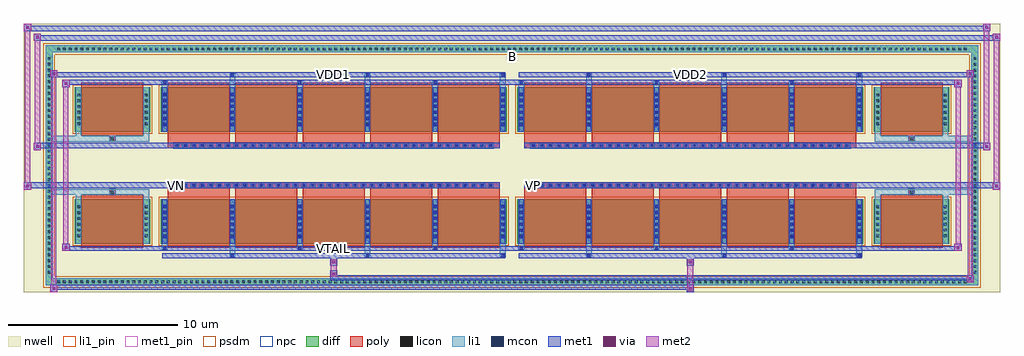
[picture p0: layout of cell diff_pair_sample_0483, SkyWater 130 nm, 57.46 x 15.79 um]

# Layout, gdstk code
import gdstk
lib = gdstk.Library(unit=1e-6, precision=5e-09)
def R(c, l, rs):  # rectangles x0, y0, x1, y1
    for r in rs: c.add(gdstk.rectangle(r[:2], r[2:], *l))
def A(c, l, x, y, w, h, nx, ny, dx, dy):  # array of equal rectangles
    R(c, l, [(x+i*dx, y+j*dy, x+i*dx+w, y+j*dy+h) for i in range(nx) for j in range(ny)])
def P(c, l, *ps):  # polygons
    for p in ps: c.add(gdstk.Polygon(p, *l))
nwell = (64, 20)
diff = (65, 20)
poly = (66, 20)
licon = (66, 44)
li1_pin = (67, 16)
li1 = (67, 20)
mcon = (67, 44)
met1_pin = (68, 16)
met1 = (68, 20)
via = (68, 44)
met2 = (69, 20)
psdm = (94, 20)
npc = (95, 20)

diff_pair_sample_0483 = lib.new_cell('diff_pair_sample_0483')
R(diff_pair_sample_0483, nwell, [(-28.73,-7.46,28.73,8.33), (-26.05,-5.65,-0.01,-0.805), (0.01,-5.65,26.05,-0.805), (-26.05,0.805,-0.01,5.65), (0.01,0.805,26.05,5.65)])
A(diff_pair_sample_0483, diff, -26.895, -7.06, 0.41, 0.41, 158, 2, 0.34, 13.71)
A(diff_pair_sample_0483, diff, -27.46, -6.495, 0.41, 0.41, 1, 38, 0, 0.34)
A(diff_pair_sample_0483, diff, 27.05, -6.495, 0.41, 0.41, 1, 38, 0, 0.34)
R(diff_pair_sample_0483, diff, [(-26.895,-7.06,26.895,-6.65), (-27.46,-6.495,-27.05,6.495), (27.05,-6.495,27.46,6.495), (-25.74,-4.605,-21.31,-1.985), (-20.67,-4.605,-0.32,-1.985), (0.32,-4.605,20.67,-1.985), (21.31,-4.605,25.74,-1.985), (-25.74,1.985,-21.31,4.605), (-20.67,1.985,-0.32,4.605), (0.32,1.985,20.67,4.605), (21.31,1.985,25.74,4.605), (-26.895,6.65,26.895,7.06)])
P(diff_pair_sample_0483, diff, [(27.46,7.06),(-27.46,7.06),(-27.46,-6.65),(-27.05,-6.65),(-27.05,6.65),(27.05,6.65),(27.05,-6.65),(-27.05,-6.65),(-27.46,-6.65),(-27.46,-7.06),(27.46,-7.06)])
A(diff_pair_sample_0483, poly, -20.28, -4.855, 3.65, 3.12, 5, 2, 3.98, 6.59)
A(diff_pair_sample_0483, poly, 0.71, -4.855, 3.65, 3.12, 5, 2, 3.98, 6.59)
A(diff_pair_sample_0483, poly, -20.28, -1.735, 3.65, 0.4, 5, 2, 3.98, 3.07)
A(diff_pair_sample_0483, poly, 0.71, -1.735, 3.65, 0.4, 5, 2, 3.98, 3.07)
A(diff_pair_sample_0483, poly, -19.91, -1.335, 0.33, 0.33, 38, 2, 0.5, 2.34)
A(diff_pair_sample_0483, poly, 1.08, -1.335, 0.33, 0.33, 38, 2, 0.5, 2.34)
R(diff_pair_sample_0483, poly, [(-25.35,-4.855,-21.7,-1.735), (21.7,-4.855,25.35,-1.735), (-23.69,-1.735,-23.36,-1.405), (-23.69,-1.735,-23.36,-1.405), (23.36,-1.735,23.69,-1.405), (23.36,-1.735,23.69,-1.405), (-20.28,-1.335,-0.71,-1.005), (0.71,-1.335,20.28,-1.005), (-20.28,1.005,-0.71,1.335), (0.71,1.005,20.28,1.335), (-23.69,1.405,-23.36,1.735), (-23.69,1.405,-23.36,1.735), (23.36,1.405,23.69,1.735), (23.36,1.405,23.69,1.735), (-25.35,1.735,-21.7,4.855), (21.7,1.735,25.35,4.855)])
A(diff_pair_sample_0483, licon, -26.775, -6.94, 0.17, 0.17, 158, 2, 0.34, 13.71)
A(diff_pair_sample_0483, licon, -27.34, -6.375, 0.17, 0.17, 1, 38, 0, 0.34)
A(diff_pair_sample_0483, licon, 27.17, -6.375, 0.17, 0.17, 1, 38, 0, 0.34)
A(diff_pair_sample_0483, licon, -25.6, -4.23, 0.17, 0.17, 1, 6, 0, 0.34)
A(diff_pair_sample_0483, licon, -21.62, -4.23, 0.17, 0.17, 1, 6, 0, 0.34)
A(diff_pair_sample_0483, licon, -20.53, -4.23, 0.17, 0.17, 6, 6, 3.98, 0.34)
A(diff_pair_sample_0483, licon, 0.46, -4.23, 0.17, 0.17, 6, 6, 3.98, 0.34)
A(diff_pair_sample_0483, licon, 21.45, -4.23, 0.17, 0.17, 1, 6, 0, 0.34)
A(diff_pair_sample_0483, licon, 25.43, -4.23, 0.17, 0.17, 1, 6, 0, 0.34)
A(diff_pair_sample_0483, licon, -19.83, -1.255, 0.17, 0.17, 38, 2, 0.5, 2.34)
A(diff_pair_sample_0483, licon, 1.16, -1.255, 0.17, 0.17, 38, 2, 0.5, 2.34)
A(diff_pair_sample_0483, licon, -25.6, 2.36, 0.17, 0.17, 1, 6, 0, 0.34)
A(diff_pair_sample_0483, licon, -21.62, 2.36, 0.17, 0.17, 1, 6, 0, 0.34)
A(diff_pair_sample_0483, licon, -20.53, 2.36, 0.17, 0.17, 6, 6, 3.98, 0.34)
A(diff_pair_sample_0483, licon, 0.46, 2.36, 0.17, 0.17, 6, 6, 3.98, 0.34)
A(diff_pair_sample_0483, licon, 21.45, 2.36, 0.17, 0.17, 1, 6, 0, 0.34)
A(diff_pair_sample_0483, licon, 25.43, 2.36, 0.17, 0.17, 1, 6, 0, 0.34)
R(diff_pair_sample_0483, licon, [(-23.61,-1.655,-23.44,-1.485), (23.44,-1.655,23.61,-1.485), (-23.61,1.485,-23.44,1.655), (23.44,1.485,23.61,1.655)])
R(diff_pair_sample_0483, li1_pin, [(-0.25,6.15,0.25,6.65)])
A(diff_pair_sample_0483, li1, -26.855, -7.02, 0.33, 0.33, 158, 2, 0.34, 13.71)
A(diff_pair_sample_0483, li1, -27.42, -6.455, 0.33, 0.33, 1, 38, 0, 0.34)
A(diff_pair_sample_0483, li1, 27.09, -6.455, 0.33, 0.33, 1, 38, 0, 0.34)
A(diff_pair_sample_0483, li1, -16.63, -5.41, 0.33, 0.805, 3, 2, 7.96, 10.015)
A(diff_pair_sample_0483, li1, -16.55, -5.41, 0.17, 0.17, 3, 2, 7.96, 10.65)
A(diff_pair_sample_0483, li1, 4.36, -5.41, 0.33, 0.805, 3, 2, 7.96, 10.015)
A(diff_pair_sample_0483, li1, 4.44, -5.41, 0.17, 0.17, 3, 2, 7.96, 10.65)
A(diff_pair_sample_0483, li1, -20.61, -4.98, 0.33, 0.375, 3, 2, 7.96, 9.585)
A(diff_pair_sample_0483, li1, -20.53, -4.98, 0.17, 0.17, 3, 2, 7.96, 9.79)
A(diff_pair_sample_0483, li1, 0.38, -4.98, 0.33, 0.375, 3, 2, 7.96, 9.585)
A(diff_pair_sample_0483, li1, 0.46, -4.98, 0.17, 0.17, 3, 2, 7.96, 9.79)
A(diff_pair_sample_0483, li1, -20.61, -4.605, 0.33, 2.62, 6, 2, 3.98, 6.59)
A(diff_pair_sample_0483, li1, 0.38, -4.605, 0.33, 2.62, 6, 2, 3.98, 6.59)
A(diff_pair_sample_0483, li1, -25.68, -4.31, 0.33, 0.33, 1, 6, 0, 0.34)
A(diff_pair_sample_0483, li1, -21.7, -4.31, 0.33, 0.33, 1, 6, 0, 0.34)
A(diff_pair_sample_0483, li1, -20.61, -4.31, 0.33, 0.33, 6, 6, 3.98, 0.34)
A(diff_pair_sample_0483, li1, 0.38, -4.31, 0.33, 0.33, 6, 6, 3.98, 0.34)
A(diff_pair_sample_0483, li1, 21.37, -4.31, 0.33, 0.33, 1, 6, 0, 0.34)
A(diff_pair_sample_0483, li1, 25.35, -4.31, 0.33, 0.33, 1, 6, 0, 0.34)
A(diff_pair_sample_0483, li1, -20.53, -4.28, 0.17, 0.17, 6, 6, 3.98, 0.36)
A(diff_pair_sample_0483, li1, -20.53, -4.28, 0.17, 1.97, 6, 2, 3.98, 6.59)
A(diff_pair_sample_0483, li1, 0.46, -4.28, 0.17, 0.17, 6, 6, 3.98, 0.36)
A(diff_pair_sample_0483, li1, 0.46, -4.28, 0.17, 1.97, 6, 2, 3.98, 6.59)
A(diff_pair_sample_0483, li1, -19.91, -1.335, 0.33, 0.33, 38, 2, 0.5, 2.34)
A(diff_pair_sample_0483, li1, 1.08, -1.335, 0.33, 0.33, 38, 2, 0.5, 2.34)
A(diff_pair_sample_0483, li1, -25.68, 2.28, 0.33, 0.33, 1, 6, 0, 0.34)
A(diff_pair_sample_0483, li1, -21.7, 2.28, 0.33, 0.33, 1, 6, 0, 0.34)
A(diff_pair_sample_0483, li1, -20.61, 2.28, 0.33, 0.33, 6, 6, 3.98, 0.34)
A(diff_pair_sample_0483, li1, 0.38, 2.28, 0.33, 0.33, 6, 6, 3.98, 0.34)
A(diff_pair_sample_0483, li1, 21.37, 2.28, 0.33, 0.33, 1, 6, 0, 0.34)
A(diff_pair_sample_0483, li1, 25.35, 2.28, 0.33, 0.33, 1, 6, 0, 0.34)
A(diff_pair_sample_0483, li1, -20.53, 2.31, 0.17, 0.17, 6, 6, 3.98, 0.36)
A(diff_pair_sample_0483, li1, 0.46, 2.31, 0.17, 0.17, 6, 6, 3.98, 0.36)
R(diff_pair_sample_0483, li1, [(-27.46,-7.06,-27.05,-6.65), (-27.46,-7.06,-27.05,-6.65), (-27.05,-7.06,27.05,-6.65), (27.05,-7.06,27.46,-6.65), (27.05,-7.06,27.46,-6.65), (-27.46,-6.65,-27.05,6.65), (27.05,-6.65,27.46,6.65), (-25.68,-4.605,-25.35,-1.985), (-21.7,-4.605,-21.37,-1.985), (21.37,-4.605,21.7,-1.985), (25.35,-4.605,25.68,-1.985), (-25.68,-1.985,-25.35,-1.405), (-21.7,-1.985,-21.37,-1.405), (21.37,-1.985,21.7,-1.405), (25.35,-1.985,25.68,-1.405), (-27.46,-1.735,-23.69,-1.405), (-25.68,-1.735,-23.69,-1.405), (-23.69,-1.735,-23.36,-1.405), (-23.36,-1.735,-21.37,-1.405), (21.37,-1.735,23.36,-1.405), (23.36,-1.735,23.69,-1.405), (23.36,-1.735,27.46,-1.405), (23.69,-1.735,25.68,-1.405), (-27.46,1.405,-23.69,1.735), (-25.68,1.405,-23.69,1.735), (-25.68,1.405,-25.35,1.985), (-23.69,1.405,-23.36,1.735), (-23.36,1.405,-21.37,1.735), (-21.7,1.405,-21.37,1.985), (21.37,1.405,23.36,1.735), (21.37,1.405,21.7,1.985), (23.36,1.405,23.69,1.735), (23.36,1.405,27.46,1.735), (23.69,1.405,25.68,1.735), (25.35,1.405,25.68,1.985), (-25.68,1.985,-25.35,4.605), (-21.7,1.985,-21.37,4.605), (21.37,1.985,21.7,4.605), (25.35,1.985,25.68,4.605), (-27.46,6.65,-27.05,7.06), (-27.46,6.65,-27.05,7.06), (-27.05,6.65,27.05,7.06), (27.05,6.65,27.46,7.06), (27.05,6.65,27.46,7.06)])
A(diff_pair_sample_0483, mcon, -16.55, -5.41, 0.17, 0.17, 3, 2, 7.96, 10.65)
A(diff_pair_sample_0483, mcon, 4.44, -5.41, 0.17, 0.17, 3, 2, 7.96, 10.65)
A(diff_pair_sample_0483, mcon, -20.53, -4.98, 0.17, 0.17, 3, 2, 7.96, 9.79)
A(diff_pair_sample_0483, mcon, 0.46, -4.98, 0.17, 0.17, 3, 2, 7.96, 9.79)
A(diff_pair_sample_0483, mcon, -20.53, -4.28, 0.17, 0.17, 6, 6, 3.98, 0.36)
A(diff_pair_sample_0483, mcon, 0.46, -4.28, 0.17, 0.17, 6, 6, 3.98, 0.36)
A(diff_pair_sample_0483, mcon, -19.83, -1.255, 0.17, 0.17, 38, 2, 0.5, 2.34)
A(diff_pair_sample_0483, mcon, 1.16, -1.255, 0.17, 0.17, 38, 2, 0.5, 2.34)
A(diff_pair_sample_0483, mcon, -20.53, 2.31, 0.17, 0.17, 6, 6, 3.98, 0.36)
A(diff_pair_sample_0483, mcon, 0.46, 2.31, 0.17, 0.17, 6, 6, 3.98, 0.36)
R(diff_pair_sample_0483, met1_pin, [(-10.63,-5.02,-10.36,-4.75), (-19.88,-1.295,-19.61,-1.025), (1.11,-1.295,1.38,-1.025), (-10.63,5.2,-10.36,5.47), (10.36,5.2,10.63,5.47)])
A(diff_pair_sample_0483, met1, -16.61, -5.47, 0.29, 0.29, 3, 2, 7.96, 10.65)
A(diff_pair_sample_0483, met1, 4.38, -5.47, 0.29, 0.29, 3, 2, 7.96, 10.65)
A(diff_pair_sample_0483, met1, -20.59, -5.04, 0.29, 0.29, 3, 2, 7.96, 9.79)
A(diff_pair_sample_0483, met1, 0.4, -5.04, 0.29, 0.29, 3, 2, 7.96, 9.79)
A(diff_pair_sample_0483, met1, -20.59, -4.605, 0.29, 2.62, 6, 2, 3.98, 6.59)
A(diff_pair_sample_0483, met1, 0.4, -4.605, 0.29, 2.62, 6, 2, 3.98, 6.59)
A(diff_pair_sample_0483, met1, -20.59, -4.34, 0.29, 0.29, 6, 6, 3.98, 0.36)
A(diff_pair_sample_0483, met1, 0.4, -4.34, 0.29, 0.29, 6, 6, 3.98, 0.36)
A(diff_pair_sample_0483, met1, -19.89, -1.315, 0.29, 0.29, 38, 2, 0.5, 2.34)
A(diff_pair_sample_0483, met1, 1.1, -1.315, 0.29, 0.29, 38, 2, 0.5, 2.34)
A(diff_pair_sample_0483, met1, -20.59, 2.25, 0.29, 0.29, 6, 6, 3.98, 0.36)
A(diff_pair_sample_0483, met1, 0.4, 2.25, 0.29, 0.29, 6, 6, 3.98, 0.36)
R(diff_pair_sample_0483, met1, [(-27.19,-7.46,-26.76,-7.03), (10.28,-7.46,10.71,-7.03), (-27.19,-7.32,10.71,-7.03), (26.76,-6.89,27.19,-6.46), (-10.71,-6.75,27.19,-6.46), (-10.71,-6.61,-10.28,-6.18), (-10.71,-5.9,-10.28,-5.47), (10.28,-5.9,10.71,-5.47), (-20.59,-5.47,-0.4,-5.18), (0.4,-5.47,20.59,-5.18), (-26.48,-5.04,-26.05,-4.61), (-26.48,-5.04,-20.59,-4.75), (-20.59,-5.04,-0.4,-4.75), (-0.4,-5.04,0.4,-4.75), (0.4,-5.04,20.59,-4.75), (20.59,-5.04,26.48,-4.75), (26.05,-5.04,26.48,-4.61), (-28.73,-1.435,-28.3,-1.005), (28.3,-1.435,28.73,-1.005), (-28.73,-1.335,-0.71,-1.005), (-20.28,-1.335,-0.71,-1.005), (0.71,-1.335,20.28,-1.005), (0.71,-1.335,28.73,-1.005), (-28.16,0.905,-27.73,1.335), (27.73,0.905,28.16,1.335), (-28.16,1.005,-20.28,1.335), (-20.28,1.005,-0.71,1.335), (0.71,1.005,20.28,1.335), (20.28,1.005,28.16,1.335), (-26.48,4.61,-26.05,5.04), (26.05,4.61,26.48,5.04), (-26.48,4.75,-20.59,5.04), (-20.59,4.75,-0.4,5.04), (-0.4,4.75,0.4,5.04), (0.4,4.75,20.59,5.04), (20.59,4.75,26.48,5.04), (-27.19,5.18,-26.76,5.61), (-27.19,5.18,-20.59,5.47), (-20.59,5.18,-0.4,5.47), (0.4,5.18,20.59,5.47), (20.59,5.18,27.19,5.47), (26.76,5.18,27.19,5.61), (-28.16,7.33,-27.73,7.76), (-28.16,7.33,-26.05,7.66), (-26.05,7.33,26.05,7.66), (26.05,7.33,28.73,7.66), (28.3,7.33,28.73,7.76), (-28.73,7.9,-28.3,8.33), (-28.73,7.9,-26.05,8.23), (-26.05,7.9,26.05,8.23), (26.05,7.9,28.16,8.23), (27.73,7.9,28.16,8.33)])
R(diff_pair_sample_0483, via, [(-27.05,-7.32,-26.9,-7.17), (10.42,-7.32,10.57,-7.17), (26.9,-6.75,27.05,-6.6), (-10.57,-6.47,-10.42,-6.32), (-10.57,-5.76,-10.42,-5.61), (10.42,-5.76,10.57,-5.61), (-26.34,-4.9,-26.19,-4.75), (26.19,-4.9,26.34,-4.75), (-28.59,-1.295,-28.44,-1.145), (28.44,-1.295,28.59,-1.145), (-28.02,1.045,-27.87,1.195), (27.87,1.045,28.02,1.195), (-26.34,4.75,-26.19,4.9), (26.19,4.75,26.34,4.9), (-27.05,5.32,-26.9,5.47), (26.9,5.32,27.05,5.47), (-28.02,7.47,-27.87,7.62), (28.44,7.47,28.59,7.62), (-28.59,8.04,-28.44,8.19), (27.87,8.04,28.02,8.19)])
R(diff_pair_sample_0483, met2, [(-27.19,-7.46,-26.76,-7.03), (-27.12,-7.46,-26.83,5.61), (-26.83,-7.46,-26.76,-7.03), (-27.14,-7.41,-26.81,-7.08), (10.33,-7.41,10.66,-7.08), (10.33,-7.08,10.66,-5.85), (26.76,-6.89,27.19,-6.46), (26.83,-6.89,27.12,5.61), (27.12,-6.89,27.19,-6.46), (26.81,-6.84,27.14,-6.51), (-10.66,-6.56,-10.33,-6.23), (-10.66,-6.23,-10.33,-5.85), (-10.66,-5.85,-10.33,-5.52), (10.33,-5.85,10.66,-5.52), (-26.48,-5.04,-26.05,-4.61), (-26.41,-5.04,-26.12,5.04), (-26.12,-5.04,-26.05,-4.61), (26.05,-5.04,26.48,-4.61), (26.12,-5.04,26.41,5.04), (26.41,-5.04,26.48,-4.61), (-26.43,-4.99,-26.1,-4.66), (26.1,-4.99,26.43,-4.66), (-28.73,-1.435,-28.3,-1.005), (-28.68,-1.435,-28.35,8.33), (-28.35,-1.435,-28.3,-1.005), (28.3,-1.435,28.73,-1.005), (28.35,-1.435,28.68,7.76), (28.68,-1.435,28.73,-1.005), (-28.68,-1.385,-28.35,-1.055), (28.35,-1.385,28.68,-1.055), (-28.16,0.905,-27.73,1.335), (-28.11,0.905,-27.78,7.76), (-27.78,0.905,-27.73,1.335), (27.73,0.905,28.16,1.335), (27.78,0.905,28.11,8.33), (28.11,0.905,28.16,1.335), (-28.11,0.955,-27.78,1.285), (27.78,0.955,28.11,1.285), (-26.48,4.61,-26.05,5.04), (-26.12,4.61,-26.05,5.04), (26.05,4.61,26.48,5.04), (26.41,4.61,26.48,5.04), (-26.43,4.66,-26.1,4.99), (26.1,4.66,26.43,4.99), (-27.19,5.18,-26.76,5.61), (-26.83,5.18,-26.76,5.61), (26.76,5.18,27.19,5.61), (27.12,5.18,27.19,5.61), (-27.14,5.23,-26.81,5.56), (26.81,5.23,27.14,5.56), (-28.16,7.33,-27.73,7.76), (-27.78,7.33,-27.73,7.76), (28.3,7.33,28.73,7.76), (28.68,7.33,28.73,7.76), (-28.11,7.38,-27.78,7.71), (28.35,7.38,28.68,7.71), (-28.73,7.9,-28.3,8.33), (-28.35,7.9,-28.3,8.33), (27.73,7.9,28.16,8.33), (28.11,7.9,28.16,8.33), (-28.68,7.95,-28.35,8.28), (27.78,7.95,28.11,8.28)])
R(diff_pair_sample_0483, psdm, [(-25.87,-4.735,-21.18,-1.855), (-20.8,-4.735,-0.19,-1.855), (0.19,-4.735,20.8,-1.855), (21.18,-4.735,25.87,-1.855), (-25.87,1.855,-21.18,4.735), (-20.8,1.855,-0.19,4.735), (0.19,1.855,20.8,4.735), (21.18,1.855,25.87,4.735)])
P(diff_pair_sample_0483, psdm, [(27.59,7.19),(-27.59,7.19),(-27.59,-6.52),(-26.92,-6.52),(-26.92,6.52),(26.92,6.52),(26.92,-6.52),(-26.92,-6.52),(-27.59,-6.52),(-27.59,-7.19),(27.59,-7.19)])
A(diff_pair_sample_0483, npc, -19.93, -1.355, 0.37, 0.37, 38, 2, 0.5, 2.34)
A(diff_pair_sample_0483, npc, 1.06, -1.355, 0.37, 0.37, 38, 2, 0.5, 2.34)
R(diff_pair_sample_0483, npc, [(-23.71,-1.755,-23.34,-1.385), (23.34,-1.755,23.71,-1.385), (-19.93,-1.355,-19.06,-0.985), (-19.93,-1.355,-19.06,-0.985), (-19.43,-1.355,-18.56,-0.985), (-19.43,-1.355,-18.56,-0.985), (-18.93,-1.355,-18.06,-0.985), (-18.93,-1.355,-18.06,-0.985), (-18.43,-1.355,-17.56,-0.985), (-18.43,-1.355,-17.56,-0.985), (-17.93,-1.355,-17.06,-0.985), (-17.93,-1.355,-17.06,-0.985), (-17.43,-1.355,-16.56,-0.985), (-17.43,-1.355,-16.56,-0.985), (-16.93,-1.355,-16.06,-0.985), (-16.93,-1.355,-16.06,-0.985), (-16.43,-1.355,-15.56,-0.985), (-16.43,-1.355,-15.56,-0.985), (-15.93,-1.355,-15.06,-0.985), (-15.93,-1.355,-15.06,-0.985), (-15.43,-1.355,-14.56,-0.985), (-15.43,-1.355,-14.56,-0.985), (-14.93,-1.355,-14.06,-0.985), (-14.93,-1.355,-14.06,-0.985), (-14.43,-1.355,-13.56,-0.985), (-14.43,-1.355,-13.56,-0.985), (-13.93,-1.355,-13.06,-0.985), (-13.93,-1.355,-13.06,-0.985), (-13.43,-1.355,-12.56,-0.985), (-13.43,-1.355,-12.56,-0.985), (-12.93,-1.355,-12.06,-0.985), (-12.93,-1.355,-12.06,-0.985), (-12.43,-1.355,-11.56,-0.985), (-12.43,-1.355,-11.56,-0.985), (-11.93,-1.355,-11.06,-0.985), (-11.93,-1.355,-11.06,-0.985), (-11.43,-1.355,-10.56,-0.985), (-11.43,-1.355,-10.56,-0.985), (-10.93,-1.355,-10.06,-0.985), (-10.93,-1.355,-10.06,-0.985), (-10.43,-1.355,-9.56,-0.985), (-10.43,-1.355,-9.56,-0.985), (-9.93,-1.355,-9.06,-0.985), (-9.93,-1.355,-9.06,-0.985), (-9.43,-1.355,-8.56,-0.985), (-9.43,-1.355,-8.56,-0.985), (-8.93,-1.355,-8.06,-0.985), (-8.93,-1.355,-8.06,-0.985), (-8.43,-1.355,-7.56,-0.985), (-8.43,-1.355,-7.56,-0.985), (-7.93,-1.355,-7.06,-0.985), (-7.93,-1.355,-7.06,-0.985), (-7.43,-1.355,-6.56,-0.985), (-7.43,-1.355,-6.56,-0.985), (-6.93,-1.355,-6.06,-0.985), (-6.93,-1.355,-6.06,-0.985), (-6.43,-1.355,-5.56,-0.985), (-6.43,-1.355,-5.56,-0.985), (-5.93,-1.355,-5.06,-0.985), (-5.93,-1.355,-5.06,-0.985), (-5.43,-1.355,-4.56,-0.985), (-5.43,-1.355,-4.56,-0.985), (-4.93,-1.355,-4.06,-0.985), (-4.93,-1.355,-4.06,-0.985), (-4.43,-1.355,-3.56,-0.985), (-4.43,-1.355,-3.56,-0.985), (-3.93,-1.355,-3.06,-0.985), (-3.93,-1.355,-3.06,-0.985), (-3.43,-1.355,-2.56,-0.985), (-3.43,-1.355,-2.56,-0.985), (-2.93,-1.355,-2.06,-0.985), (-2.93,-1.355,-2.06,-0.985), (-2.43,-1.355,-1.56,-0.985), (-2.43,-1.355,-1.56,-0.985), (-1.93,-1.355,-1.06,-0.985), (-1.93,-1.355,-1.06,-0.985), (1.06,-1.355,1.93,-0.985), (1.06,-1.355,1.93,-0.985), (1.56,-1.355,2.43,-0.985), (1.56,-1.355,2.43,-0.985), (2.06,-1.355,2.93,-0.985), (2.06,-1.355,2.93,-0.985), (2.56,-1.355,3.43,-0.985), (2.56,-1.355,3.43,-0.985), (3.06,-1.355,3.93,-0.985), (3.06,-1.355,3.93,-0.985), (3.56,-1.355,4.43,-0.985), (3.56,-1.355,4.43,-0.985), (4.06,-1.355,4.93,-0.985), (4.06,-1.355,4.93,-0.985), (4.56,-1.355,5.43,-0.985), (4.56,-1.355,5.43,-0.985), (5.06,-1.355,5.93,-0.985), (5.06,-1.355,5.93,-0.985), (5.56,-1.355,6.43,-0.985), (5.56,-1.355,6.43,-0.985), (6.06,-1.355,6.93,-0.985), (6.06,-1.355,6.93,-0.985), (6.56,-1.355,7.43,-0.985), (6.56,-1.355,7.43,-0.985), (7.06,-1.355,7.93,-0.985), (7.06,-1.355,7.93,-0.985), (7.56,-1.355,8.43,-0.985), (7.56,-1.355,8.43,-0.985), (8.06,-1.355,8.93,-0.985), (8.06,-1.355,8.93,-0.985), (8.56,-1.355,9.43,-0.985), (8.56,-1.355,9.43,-0.985), (9.06,-1.355,9.93,-0.985), (9.06,-1.355,9.93,-0.985), (9.56,-1.355,10.43,-0.985), (9.56,-1.355,10.43,-0.985), (10.06,-1.355,10.93,-0.985), (10.06,-1.355,10.93,-0.985), (10.56,-1.355,11.43,-0.985), (10.56,-1.355,11.43,-0.985), (11.06,-1.355,11.93,-0.985), (11.06,-1.355,11.93,-0.985), (11.56,-1.355,12.43,-0.985), (11.56,-1.355,12.43,-0.985), (12.06,-1.355,12.93,-0.985), (12.06,-1.355,12.93,-0.985), (12.56,-1.355,13.43,-0.985), (12.56,-1.355,13.43,-0.985), (13.06,-1.355,13.93,-0.985), (13.06,-1.355,13.93,-0.985), (13.56,-1.355,14.43,-0.985), (13.56,-1.355,14.43,-0.985), (14.06,-1.355,14.93,-0.985), (14.06,-1.355,14.93,-0.985), (14.56,-1.355,15.43,-0.985), (14.56,-1.355,15.43,-0.985), (15.06,-1.355,15.93,-0.985), (15.06,-1.355,15.93,-0.985), (15.56,-1.355,16.43,-0.985), (15.56,-1.355,16.43,-0.985), (16.06,-1.355,16.93,-0.985), (16.06,-1.355,16.93,-0.985), (16.56,-1.355,17.43,-0.985), (16.56,-1.355,17.43,-0.985), (17.06,-1.355,17.93,-0.985), (17.06,-1.355,17.93,-0.985), (17.56,-1.355,18.43,-0.985), (17.56,-1.355,18.43,-0.985), (18.06,-1.355,18.93,-0.985), (18.06,-1.355,18.93,-0.985), (18.56,-1.355,19.43,-0.985), (18.56,-1.355,19.43,-0.985), (19.06,-1.355,19.93,-0.985), (19.06,-1.355,19.93,-0.985), (-19.93,0.985,-19.06,1.355), (-19.93,0.985,-19.06,1.355), (-19.43,0.985,-18.56,1.355), (-19.43,0.985,-18.56,1.355), (-18.93,0.985,-18.06,1.355), (-18.93,0.985,-18.06,1.355), (-18.43,0.985,-17.56,1.355), (-18.43,0.985,-17.56,1.355), (-17.93,0.985,-17.06,1.355), (-17.93,0.985,-17.06,1.355), (-17.43,0.985,-16.56,1.355), (-17.43,0.985,-16.56,1.355), (-16.93,0.985,-16.06,1.355), (-16.93,0.985,-16.06,1.355), (-16.43,0.985,-15.56,1.355), (-16.43,0.985,-15.56,1.355), (-15.93,0.985,-15.06,1.355), (-15.93,0.985,-15.06,1.355), (-15.43,0.985,-14.56,1.355), (-15.43,0.985,-14.56,1.355), (-14.93,0.985,-14.06,1.355), (-14.93,0.985,-14.06,1.355), (-14.43,0.985,-13.56,1.355), (-14.43,0.985,-13.56,1.355), (-13.93,0.985,-13.06,1.355), (-13.93,0.985,-13.06,1.355), (-13.43,0.985,-12.56,1.355), (-13.43,0.985,-12.56,1.355), (-12.93,0.985,-12.06,1.355), (-12.93,0.985,-12.06,1.355), (-12.43,0.985,-11.56,1.355), (-12.43,0.985,-11.56,1.355), (-11.93,0.985,-11.06,1.355), (-11.93,0.985,-11.06,1.355), (-11.43,0.985,-10.56,1.355), (-11.43,0.985,-10.56,1.355), (-10.93,0.985,-10.06,1.355), (-10.93,0.985,-10.06,1.355), (-10.43,0.985,-9.56,1.355), (-10.43,0.985,-9.56,1.355), (-9.93,0.985,-9.06,1.355), (-9.93,0.985,-9.06,1.355), (-9.43,0.985,-8.56,1.355), (-9.43,0.985,-8.56,1.355), (-8.93,0.985,-8.06,1.355), (-8.93,0.985,-8.06,1.355), (-8.43,0.985,-7.56,1.355), (-8.43,0.985,-7.56,1.355), (-7.93,0.985,-7.06,1.355), (-7.93,0.985,-7.06,1.355), (-7.43,0.985,-6.56,1.355), (-7.43,0.985,-6.56,1.355), (-6.93,0.985,-6.06,1.355), (-6.93,0.985,-6.06,1.355), (-6.43,0.985,-5.56,1.355), (-6.43,0.985,-5.56,1.355), (-5.93,0.985,-5.06,1.355), (-5.93,0.985,-5.06,1.355), (-5.43,0.985,-4.56,1.355), (-5.43,0.985,-4.56,1.355), (-4.93,0.985,-4.06,1.355), (-4.93,0.985,-4.06,1.355), (-4.43,0.985,-3.56,1.355), (-4.43,0.985,-3.56,1.355), (-3.93,0.985,-3.06,1.355), (-3.93,0.985,-3.06,1.355), (-3.43,0.985,-2.56,1.355), (-3.43,0.985,-2.56,1.355), (-2.93,0.985,-2.06,1.355), (-2.93,0.985,-2.06,1.355), (-2.43,0.985,-1.56,1.355), (-2.43,0.985,-1.56,1.355), (-1.93,0.985,-1.06,1.355), (-1.93,0.985,-1.06,1.355), (1.06,0.985,1.93,1.355), (1.06,0.985,1.93,1.355), (1.56,0.985,2.43,1.355), (1.56,0.985,2.43,1.355), (2.06,0.985,2.93,1.355), (2.06,0.985,2.93,1.355), (2.56,0.985,3.43,1.355), (2.56,0.985,3.43,1.355), (3.06,0.985,3.93,1.355), (3.06,0.985,3.93,1.355), (3.56,0.985,4.43,1.355), (3.56,0.985,4.43,1.355), (4.06,0.985,4.93,1.355), (4.06,0.985,4.93,1.355), (4.56,0.985,5.43,1.355), (4.56,0.985,5.43,1.355), (5.06,0.985,5.93,1.355), (5.06,0.985,5.93,1.355), (5.56,0.985,6.43,1.355), (5.56,0.985,6.43,1.355), (6.06,0.985,6.93,1.355), (6.06,0.985,6.93,1.355), (6.56,0.985,7.43,1.355), (6.56,0.985,7.43,1.355), (7.06,0.985,7.93,1.355), (7.06,0.985,7.93,1.355), (7.56,0.985,8.43,1.355), (7.56,0.985,8.43,1.355), (8.06,0.985,8.93,1.355), (8.06,0.985,8.93,1.355), (8.56,0.985,9.43,1.355), (8.56,0.985,9.43,1.355), (9.06,0.985,9.93,1.355), (9.06,0.985,9.93,1.355), (9.56,0.985,10.43,1.355), (9.56,0.985,10.43,1.355), (10.06,0.985,10.93,1.355), (10.06,0.985,10.93,1.355), (10.56,0.985,11.43,1.355), (10.56,0.985,11.43,1.355), (11.06,0.985,11.93,1.355), (11.06,0.985,11.93,1.355), (11.56,0.985,12.43,1.355), (11.56,0.985,12.43,1.355), (12.06,0.985,12.93,1.355), (12.06,0.985,12.93,1.355), (12.56,0.985,13.43,1.355), (12.56,0.985,13.43,1.355), (13.06,0.985,13.93,1.355), (13.06,0.985,13.93,1.355), (13.56,0.985,14.43,1.355), (13.56,0.985,14.43,1.355), (14.06,0.985,14.93,1.355), (14.06,0.985,14.93,1.355), (14.56,0.985,15.43,1.355), (14.56,0.985,15.43,1.355), (15.06,0.985,15.93,1.355), (15.06,0.985,15.93,1.355), (15.56,0.985,16.43,1.355), (15.56,0.985,16.43,1.355), (16.06,0.985,16.93,1.355), (16.06,0.985,16.93,1.355), (16.56,0.985,17.43,1.355), (16.56,0.985,17.43,1.355), (17.06,0.985,17.93,1.355), (17.06,0.985,17.93,1.355), (17.56,0.985,18.43,1.355), (17.56,0.985,18.43,1.355), (18.06,0.985,18.93,1.355), (18.06,0.985,18.93,1.355), (18.56,0.985,19.43,1.355), (18.56,0.985,19.43,1.355), (19.06,0.985,19.93,1.355), (19.06,0.985,19.93,1.355), (-23.71,1.385,-23.34,1.755), (23.34,1.385,23.71,1.755)])
diff_pair_sample_0483.add(gdstk.Label('VTAIL', (-10.495,-4.885), layer=68, texttype=5))
diff_pair_sample_0483.add(gdstk.Label('VN', (-19.745,-1.16), layer=68, texttype=5))
diff_pair_sample_0483.add(gdstk.Label('VP', (1.245,-1.16), layer=68, texttype=5))
diff_pair_sample_0483.add(gdstk.Label('B', (0,6.4), layer=67, texttype=5))
diff_pair_sample_0483.add(gdstk.Label('VDD2', (10.495,5.335), layer=68, texttype=5))
diff_pair_sample_0483.add(gdstk.Label('VDD1', (-10.495,5.335), layer=68, texttype=5))

lib.write_gds('diff_pair_sample_0483.gds')
